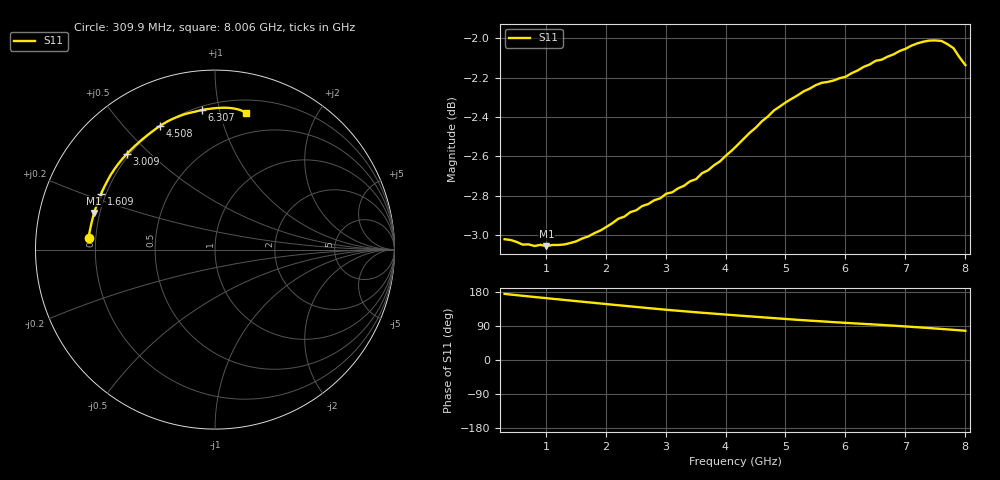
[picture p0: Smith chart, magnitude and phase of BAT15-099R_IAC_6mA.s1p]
! Infineon Technologies  Discrete & RF Semiconductors
! BAT15-099R
! IAC = 6 mA
! One-Port S-Parameters
# Hz  S  MA  R  50
!f  S11
!Hz  Mag  Ang
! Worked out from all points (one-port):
!   78 points, 309.9 MHz to 8.006 GHz, reference 50 ohm
!   lowest |S11| = -3.1 dB at 1.01 GHz (marker M1), VSWR 5.74, Z = 8.89 + j7.17 ohm
!   |S11| at or under -10 dB: nowhere
!   S11 on the Smith chart (normalised r, x): 309.9 MHz: 0.17, +0.05; 1.609 GHz: 0.18, +0.23; 3.009 GHz: 0.19, +0.43; 4.508 GHz: 0.20, +0.63; 6.307 GHz: 0.22, +0.89; 8.006 GHz: 0.31, +1.21
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3.0985e8  0.7062 174.5
4.098e8  0.7059 172.7
5.0975e8  0.7051 171.2
7.0965e8  0.7041 167.9
1.0095e9  0.7034 163.2
1.30935e9  0.7041 158.4
1.6092e9  0.7066 153.8
2.009e9  0.7113 147.6
2.30885e9  0.7156 143.0
2.6087e9  0.7201 138.5
2.70865e9  0.7209 137.0
3.0085e9  0.7253 132.7
3.2084e9  0.7276 129.9
3.6082e9  0.7341 124.7
4.2079e9  0.7465 117.4
4.50775e9  0.7539 113.9
4.8076e9  0.7615 110.5
5.2074e9  0.7683 106.0
5.50725e9  0.7729 102.9
6.007e9  0.7767 98.0
6.10695e9  0.7783 97.1
6.30685e9  0.7812 95.3
6.8066e9  0.7869 90.6
7.10645e9  0.7909 87.5
7.4063e9  0.7933 84.3
7.6062e9  0.7931 82.0
7.8061e9  0.7898 79.5
8.006e9  0.7819 77.2
